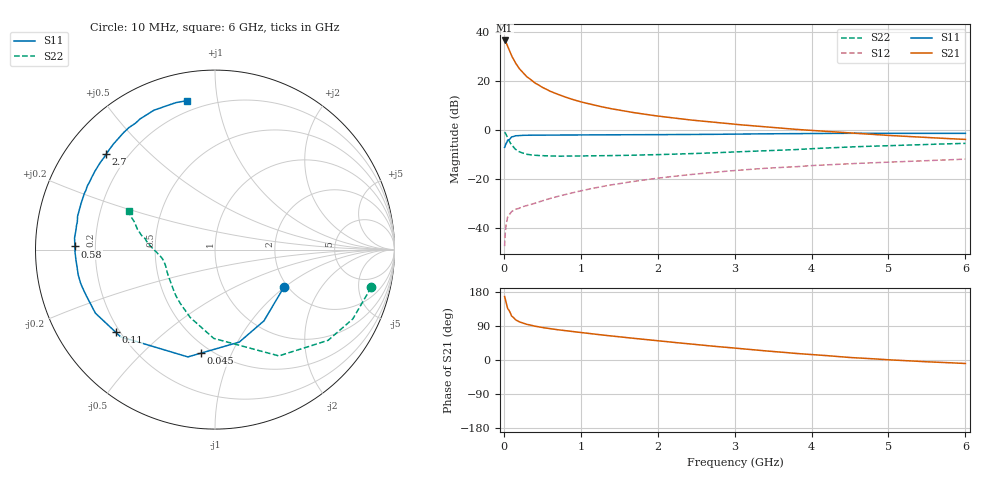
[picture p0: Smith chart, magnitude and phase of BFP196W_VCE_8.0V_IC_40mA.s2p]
! Infineon Technologies  Discrete & RF Semiconductors
! BFP196W
! VCE = 8.0 V,  IC =  40mA
! Common Emitter S-Parameters:  Jan 2016
# GHz  S  MA  R  50
!  f  S11  S21  S12  S22
! GHz  MAG  ANG  MAG  ANG  MAG  ANG  MAG  ANG
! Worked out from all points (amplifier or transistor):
!   210 points, 10 MHz to 6 GHz, reference 50 ohm
!   highest |S21| = 36.5 dB at 10 MHz (marker M1)
!   |S21| within 3 dB of that: start of sweep to 58.3 MHz
!   unconditionally stable (mu >= 1): 741.5 MHz to 3.505 GHz; 3.671 GHz to 3.848 GHz
!   at 185 MHz: K = 0.47, MSG = 29.0 dB, |S12| = -32.2 dB
!   at 1.52 GHz: K = 1.11, MAG = 12.9 dB, |S12| = -21.9 dB
!   at 6 GHz: K = 0.95, MSG = 4.0 dB, |S12| = -12.0 dB
!   S11 on the Smith chart (normalised r, x): 10 MHz: 1.90, -0.99; 45 MHz: 0.44, -0.77; 110 MHz: 0.18, -0.35; 580 MHz: 0.12, +0.01; 2.7 GHz: 0.12, +0.37; 6 GHz: 0.14, +0.82
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0.01  0.4372 -28.8  66.68 167.5  0.0042 77.1  0.8952 -13.6
0.02  0.4816 -55.5  64.78 158.9  0.0084 71.0  0.8595 -26.7
0.03  0.5328 -75.3  60.39 150.1  0.0115 63.6  0.808 -38.7
0.045  0.5828 -97.9  52.6 139.8  0.0153 53.9  0.7112 -53.3
0.05  0.6168 -104.2  50.46 135.7  0.0166 51.7  0.6911 -59.0
0.1  0.716 -137.3  32.58 116.2  0.0213 39.1  0.4948 -90.8
0.11  0.7198 -140.3  30.65 114.7  0.0218 38.4  0.4724 -94.0
0.15  0.7546 -152.0  23.24 106.2  0.0237 35.8  0.4021 -110.2
0.185  0.7579 -157.8  19.41 102.7  0.0246 36.7  0.3677 -118.9
0.2  0.7617 -160.2  17.79 100.8  0.025 37.1  0.3559 -123.1
0.24  0.7691 -164.4  15.14 97.7  0.0266 38.1  0.3375 -130.0
0.3  0.7749 -169.4  12.06 94.0  0.0283 40.8  0.3154 -138.7
0.4  0.7763 -174.9  9.137 89.3  0.0314 43.7  0.3021 -147.5
0.58  0.781 178.7  6.384 83.3  0.0387 49.7  0.2929 -156.8
0.8  0.7822 172.7  4.631 77.3  0.0477 54.4  0.2898 -162.6
1.02  0.7835 168.2  3.653 72.2  0.0575 56.6  0.2918 -166.2
2.02  0.7959 149.8  1.891 50.4  0.1035 55.9  0.3114 -174.3
2.7  0.8063 138.7  1.436 36.9  0.134 51.4  0.3375 -179.4
3.1  0.8178 132.5  1.256 29.6  0.1512 48.1  0.3576 177.2
4.1  0.8402 118.6  0.948 13.0  0.1891 40.1  0.4184 168.8
5.1  0.8455 108.1  0.752 -0.4  0.2217 32.5  0.4796 160.6
6  0.8445 100.8  0.636 -9.2  0.2514 26.4  0.5278 155.8
